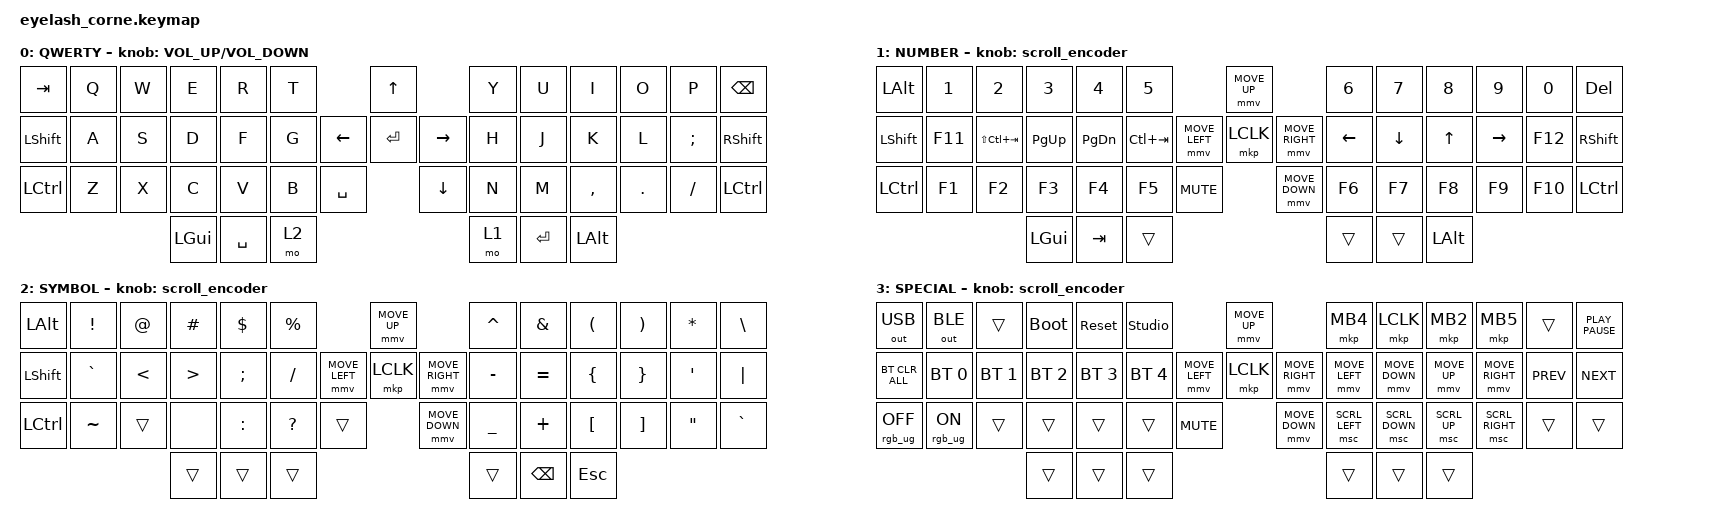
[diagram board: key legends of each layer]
#include <dt-bindings/zmk/mouse.h>
#include <input/processors.dtsi>
#include <behaviors.dtsi>
#include <dt-bindings/zmk/bt.h>
#include <dt-bindings/zmk/keys.h>
#include <dt-bindings/zmk/outputs.h>
#include <dt-bindings/zmk/pointing.h>
#include <dt-bindings/zmk/pointing.h>
#include <dt-bindings/zmk/pointing.h>
#include <dt-bindings/zmk/rgb.h>

/*

   &mmv_input_listener {
       input-processors = <&zip_xy_scaler 2 1>;
   };

   &msc_input_listener {
       input-processors = <&zip_xy_scaler 2 1>;
   };

 */

#define ZMK_MOUSE_DEFAULT_MOVE_VAL 1200  // 600
#define ZMK_MOUSE_DEFAULT_SCRL_VAL 20    // 10

/ {
    behaviors {
        td0: td0 {
            compatible = "zmk,behavior-tap-dance";
            display-name = "Shift/Caps Lock Tap Dance";
            #binding-cells = <0>;
            bindings = <&kp LEFT_SHIFT>, <&kp CAPS>;
        };
    };

    rgb_encoder: rgb_encoder {
        compatible = "zmk,behavior-sensor-rotate";
        #sensor-binding-cells = <0>;
        bindings = <&rgb_ug RGB_BRI>, <&rgb_ug RGB_BRD>;
    };

    scroll_encoder: scroll_encoder {
        compatible = "zmk,behavior-sensor-rotate";
        #sensor-binding-cells = <0>;
        bindings = <&msc SCRL_DOWN>, <&msc SCRL_UP>;

        tap-ms = <30>;
    };

    keymap {
        compatible = "zmk,keymap";

        default_layer {
            display-name = "QWERTY";
            bindings = <
&kp TAB         &kp Q  &kp W  &kp E     &kp R      &kp T                         &kp UP                &kp Y  &kp U      &kp I         &kp O    &kp P     &kp BSPC
&kp LEFT_SHIFT  &kp A  &kp S  &kp D     &kp F      &kp G               &kp LEFT  &kp ENTER  &kp RIGHT  &kp H  &kp J      &kp K         &kp L    &kp SEMI  &kp RIGHT_SHIFT
&kp LCTRL       &kp Z  &kp X  &kp C     &kp V      &kp B  &kp SPACE              &kp DOWN              &kp N  &kp M      &kp COMMA     &kp DOT  &kp FSLH  &kp LEFT_CONTROL
                              &kp LGUI  &kp SPACE  &mo 2                                               &mo 1  &kp ENTER  &kp LEFT_ALT
            >;

            sensor-bindings = <&inc_dec_kp C_VOLUME_UP C_VOLUME_DOWN>;
        };

        lower_layer {
            display-name = "NUMBER";
            bindings = <
&kp LEFT_ALT  &kp N1   &kp N2           &kp N3        &kp N4         &kp N5                                     &mmv MOVE_UP                     &kp N6    &kp N7    &kp N8        &kp N9     &kp N0   &kp DELETE
&kp LSHFT     &kp F11  &kp LS(LC(TAB))  &kp PAGE_UP   &kp PAGE_DOWN  &kp LC(TAB)                &mmv MOVE_LEFT  &mkp LCLK       &mmv MOVE_RIGHT  &kp LEFT  &kp DOWN  &kp UP        &kp RIGHT  &kp F12  &kp RSHFT
&kp LCTRL     &kp F1   &kp F2           &kp F3        &kp F4         &kp F5       &kp C_MUTE                    &mmv MOVE_DOWN                   &kp F6    &kp F7    &kp F8        &kp F9     &kp F10  &kp LEFT_CONTROL
                                        &kp LEFT_GUI  &kp TAB        &trans                                                                      &trans    &trans    &kp LEFT_ALT
            >;

            sensor-bindings = <&scroll_encoder>;
        };

        raise_layer {
            display-name = "SYMBOL";
            bindings = <
&kp LEFT_ALT    &kp EXCL   &kp AT         &kp HASH          &kp DLLR   &kp PRCNT                            &mmv MOVE_UP                     &kp CARET  &kp AMPS       &kp LEFT_PARENTHESIS  &kp RIGHT_PARENTHESIS  &kp STAR           &kp BACKSLASH
&kp LEFT_SHIFT  &kp GRAVE  &kp LESS_THAN  &kp GREATER_THAN  &kp SEMI   &kp SLASH            &mmv MOVE_LEFT  &mkp LCLK       &mmv MOVE_RIGHT  &kp MINUS  &kp EQUAL      &kp LEFT_BRACE        &kp RIGHT_BRACE        &kp SINGLE_QUOTE   &kp PIPE
&kp LCTRL       &kp TILDE  &trans         &none             &kp COLON  &kp QMARK  &trans                    &mmv MOVE_DOWN                   &kp UNDER  &kp PLUS       &kp LEFT_BRACKET      &kp RIGHT_BRACKET      &kp DOUBLE_QUOTES  &kp GRAVE
                                          &trans            &trans     &trans                                                                &trans     &kp BACKSPACE  &kp ESC
            >;

            sensor-bindings = <&scroll_encoder>;
        };

        combo_layer {
            display-name = "SPECIAL";
            bindings = <
&out OUT_USB     &out OUT_BLE    &trans        &bootloader   &sys_reset    &studio_unlock                                &mmv MOVE_UP                     &mkp MB4        &mkp LCLK       &mkp MB2      &mkp MB5         &trans      &kp K_PLAY_PAUSE
&bt BT_CLR_ALL   &bt BT_SEL 0    &bt BT_SEL 1  &bt BT_SEL 2  &bt BT_SEL 3  &bt BT_SEL 4                  &mmv MOVE_LEFT  &mkp LCLK       &mmv MOVE_RIGHT  &mmv MOVE_LEFT  &mmv MOVE_DOWN  &mmv MOVE_UP  &mmv MOVE_RIGHT  &kp K_PREV  &kp K_NEXT
&rgb_ug RGB_OFF  &rgb_ug RGB_ON  &trans        &trans        &trans        &trans          &kp C_MUTE                    &mmv MOVE_DOWN                   &msc SCRL_LEFT  &msc SCRL_DOWN  &msc SCRL_UP  &msc SCRL_RIGHT  &trans      &trans
                                               &trans        &trans        &trans                                                                         &trans          &trans          &trans
            >;

            sensor-bindings = <&scroll_encoder>;
        };
    };

    conditional_layers {
        compatible = "zmk,conditional-layers";

        Special {
            if-layers = <1 2>;
            then-layer = <3>;
        };
    };
};
